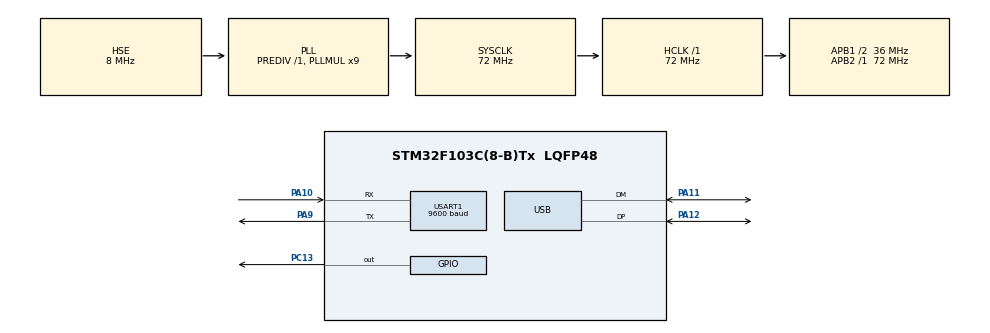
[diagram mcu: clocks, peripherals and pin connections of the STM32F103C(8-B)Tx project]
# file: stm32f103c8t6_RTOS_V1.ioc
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FREERTOS.BinarySemaphores01=BinSem,Dynamic,NULL
FREERTOS.Tasks01=defaultTask,0,128,StartDefaultTask,Default,NULL,Dynamic,NULL,NULL;UartTask01,-1,128,StartTask02,Default,NULL,Dynamic,NULL,NULL;UartTask02,0,128,StartTask03,Default,NULL,Dynamic,NULL,NULL;UartTask03,1,128,StartTask04,Default,NULL,Dynamic,NULL,NULL
Mcu.Family=STM32F1
Mcu.Name=STM32F103C(8-B)Tx
Mcu.Package=LQFP48
NVIC.PriorityGroup=NVIC_PRIORITYGROUP_4
NVIC.TIM4_IRQn=true\:15\:0\:false\:false\:true\:false\:false\:true
NVIC.TimeBase=TIM4_IRQn
NVIC.TimeBaseIP=TIM4
PA10.Mode=Asynchronous
PA10.Signal=USART1_RX
PA11.Mode=Device
PA11.Signal=USB_DM
PA12.Mode=Device
PA12.Signal=USB_DP
PA13.Mode=Serial_Wire
PA13.Signal=SYS_JTMS-SWDIO
PA14.Mode=Serial_Wire
PA14.Signal=SYS_JTCK-SWCLK
PA9.Mode=Asynchronous
PA9.Signal=USART1_TX
PC13-TAMPER-RTC.Signal=GPIO_Output
PD0-OSC_IN.Mode=HSE-External-Oscillator
PD0-OSC_IN.Signal=RCC_OSC_IN
PD1-OSC_OUT.Mode=HSE-External-Oscillator
PD1-OSC_OUT.Signal=RCC_OSC_OUT
ProjectManager.HeapSize=0x200
ProjectManager.StackSize=0x400
ProjectManager.TargetToolchain=Makefile
RCC.AHBFreq_Value=72000000
RCC.APB1CLKDivider=RCC_HCLK_DIV2
RCC.APB1Freq_Value=36000000
RCC.APB1TimFreq_Value=72000000
RCC.APB2Freq_Value=72000000
RCC.APB2TimFreq_Value=72000000
RCC.HCLKFreq_Value=72000000
RCC.PLLMUL=RCC_PLL_MUL9
RCC.PLLSourceVirtual=RCC_PLLSOURCE_HSE
RCC.SYSCLKFreq_VALUE=72000000
RCC.SYSCLKSource=RCC_SYSCLKSOURCE_PLLCLK
RCC.USBFreq_Value=48000000
RCC.USBPrescaler=RCC_USBCLKSOURCE_PLL_DIV1_5
USART1.BaudRate=9600
USART1.VirtualMode=VM_ASYNC
VP_FREERTOS_VS_CMSIS_V1.Mode=CMSIS_V1
VP_SYS_VS_tim4.Mode=TIM4
board=custom

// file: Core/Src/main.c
/* USER CODE BEGIN Header */
/**
  ******************************************************************************
  * @file           : main.c
  * @brief          : Main program body
  ******************************************************************************
  * @attention
  *
  * <h2><center>&copy; Copyright (c) 2023 STMicroelectronics.
  * All rights reserved.</center></h2>
  *
  * This software component is licensed by ST under BSD 3-Clause license,
  * the "License"; You may not use this file except in compliance with the
  * License. You may obtain a copy of the License at:
  *                        opensource.org/licenses/BSD-3-Clause
  *
  ******************************************************************************
  */
/* USER CODE END Header */
#include "main.h"
#include "cmsis_os.h"

/* USER CODE BEGIN Includes */
#include <stdio.h>
/* USER CODE END Includes */

/* USER CODE BEGIN PTD */
int _write(int file, char *data, int len);
uint8_t Tx_Start[] = "UART1 Ready\n";
/* USER CODE END PTD */

UART_HandleTypeDef huart1;

PCD_HandleTypeDef hpcd_USB_FS;

osThreadId defaultTaskHandle;
osThreadId UartTask01Handle;
osThreadId UartTask02Handle;
osThreadId UartTask03Handle;
osSemaphoreId BinSemHandle;

void SystemClock_Config(void);
static void MX_GPIO_Init(void);
static void MX_USART1_UART_Init(void);
static void MX_USB_PCD_Init(void);
void StartDefaultTask(void const * argument);
void StartTask02(void const * argument);
void StartTask03(void const * argument);
void StartTask04(void const * argument);

/* USER CODE BEGIN PFP */
void Blink_Led_PC13(void);

/* USER CODE END PFP */

int main(void)
{

  /* MCU Configuration--------------------------------------------------------*/

  /* Reset of all peripherals, Initializes the Flash interface and the Systick. */
  HAL_Init();

  /* Configure the system clock */
  SystemClock_Config();

  /* Initialize all configured peripherals */
  MX_GPIO_Init();
  MX_USART1_UART_Init();
  MX_USB_PCD_Init();
  /* USER CODE BEGIN 2 */
  HAL_Delay(2000);
  // HAL_UART_Transmit(&huart1, &Tx_Start, sizeof(Tx_Start), 100);
  printf("RTOS Ready\n");
  /* USER CODE END 2 */

  /* Create the semaphores(s) */
  /* definition and creation of BinSem */
  osSemaphoreDef(BinSem);
  BinSemHandle = osSemaphoreCreate(osSemaphore(BinSem), 1);

  /* Create the thread(s) */
  /* definition and creation of defaultTask */
  osThreadDef(defaultTask, StartDefaultTask, osPriorityNormal, 0, 128);
  defaultTaskHandle = osThreadCreate(osThread(defaultTask), NULL);

  /* definition and creation of UartTask01 */
  osThreadDef(UartTask01, StartTask02, osPriorityBelowNormal, 0, 128);
  UartTask01Handle = osThreadCreate(osThread(UartTask01), NULL);

  /* definition and creation of UartTask02 */
  // osThreadDef(UartTask02, StartTask03, osPriorityNormal, 0, 128);
  // UartTask02Handle = osThreadCreate(osThread(UartTask02), NULL);

  // /* definition and creation of UartTask03 */
  // osThreadDef(UartTask03, StartTask04, osPriorityAboveNormal, 0, 128);
  // UartTask03Handle = osThreadCreate(osThread(UartTask03), NULL);

  /* Start scheduler */
  osKernelStart();

  /* We should never get here as control is now taken by the scheduler */
  /* Infinite loop */
  /* USER CODE BEGIN WHILE */
  while (1)
  {
    Blink_Led_PC13();

    /* USER CODE END WHILE */

  }
}

void SystemClock_Config(void)
{
  RCC_OscInitTypeDef RCC_OscInitStruct = {0};
  RCC_ClkInitTypeDef RCC_ClkInitStruct = {0};
  RCC_PeriphCLKInitTypeDef PeriphClkInit = {0};

  /** Initializes the RCC Oscillators according to the specified parameters
  * in the RCC_OscInitTypeDef structure.
  */
  RCC_OscInitStruct.OscillatorType = RCC_OSCILLATORTYPE_HSE;
  RCC_OscInitStruct.HSEState = RCC_HSE_ON;
  RCC_OscInitStruct.HSEPredivValue = RCC_HSE_PREDIV_DIV1;
  RCC_OscInitStruct.HSIState = RCC_HSI_ON;
  RCC_OscInitStruct.PLL.PLLState = RCC_PLL_ON;
  RCC_OscInitStruct.PLL.PLLSource = RCC_PLLSOURCE_HSE;
  RCC_OscInitStruct.PLL.PLLMUL = RCC_PLL_MUL9;
  if (HAL_RCC_OscConfig(&RCC_OscInitStruct) != HAL_OK)
  {
    Error_Handler();
  }
  /** Initializes the CPU, AHB and APB buses clocks
  */
  RCC_ClkInitStruct.ClockType = RCC_CLOCKTYPE_HCLK|RCC_CLOCKTYPE_SYSCLK
                              |RCC_CLOCKTYPE_PCLK1|RCC_CLOCKTYPE_PCLK2;
  RCC_ClkInitStruct.SYSCLKSource = RCC_SYSCLKSOURCE_PLLCLK;
  RCC_ClkInitStruct.AHBCLKDivider = RCC_SYSCLK_DIV1;
  RCC_ClkInitStruct.APB1CLKDivider = RCC_HCLK_DIV2;
  RCC_ClkInitStruct.APB2CLKDivider = RCC_HCLK_DIV1;

  if (HAL_RCC_ClockConfig(&RCC_ClkInitStruct, FLASH_LATENCY_2) != HAL_OK)
  {
    Error_Handler();
  }
  PeriphClkInit.PeriphClockSelection = RCC_PERIPHCLK_USB;
  PeriphClkInit.UsbClockSelection = RCC_USBCLKSOURCE_PLL_DIV1_5;
  if (HAL_RCCEx_PeriphCLKConfig(&PeriphClkInit) != HAL_OK)
  {
    Error_Handler();
  }
}

static void MX_USART1_UART_Init(void)
{

  huart1.Instance = USART1;
  huart1.Init.BaudRate = 9600;
  huart1.Init.WordLength = UART_WORDLENGTH_8B;
  huart1.Init.StopBits = UART_STOPBITS_1;
  huart1.Init.Parity = UART_PARITY_NONE;
  huart1.Init.Mode = UART_MODE_TX_RX;
  huart1.Init.HwFlowCtl = UART_HWCONTROL_NONE;
  huart1.Init.OverSampling = UART_OVERSAMPLING_16;
  if (HAL_UART_Init(&huart1) != HAL_OK)
  {
    Error_Handler();
  }

}

static void MX_USB_PCD_Init(void)
{

  hpcd_USB_FS.Instance = USB;
  hpcd_USB_FS.Init.dev_endpoints = 8;
  hpcd_USB_FS.Init.speed = PCD_SPEED_FULL;
  hpcd_USB_FS.Init.low_power_enable = DISABLE;
  hpcd_USB_FS.Init.lpm_enable = DISABLE;
  hpcd_USB_FS.Init.battery_charging_enable = DISABLE;
  if (HAL_PCD_Init(&hpcd_USB_FS) != HAL_OK)
  {
    Error_Handler();
  }

}

static void MX_GPIO_Init(void)
{
  GPIO_InitTypeDef GPIO_InitStruct = {0};

  /* GPIO Ports Clock Enable */
  __HAL_RCC_GPIOC_CLK_ENABLE();
  __HAL_RCC_GPIOD_CLK_ENABLE();
  __HAL_RCC_GPIOA_CLK_ENABLE();

  /*Configure GPIO pin Output Level */
  HAL_GPIO_WritePin(GPIOC, GPIO_PIN_13, GPIO_PIN_RESET);

  /*Configure GPIO pin : PC13 */
  GPIO_InitStruct.Pin = GPIO_PIN_13;
  GPIO_InitStruct.Mode = GPIO_MODE_OUTPUT_PP;
  GPIO_InitStruct.Pull = GPIO_NOPULL;
  GPIO_InitStruct.Speed = GPIO_SPEED_FREQ_LOW;
  HAL_GPIO_Init(GPIOC, &GPIO_InitStruct);

}

/* USER CODE BEGIN 4 */

void Blink_Led_PC13(void)
{
  uint32_t tick_blink;
  if(HAL_GetTick() - tick_blink > 1000)
  {
    HAL_GPIO_TogglePin(GPIOC, GPIO_PIN_13);
    tick_blink = HAL_GetTick();
  }

}

/* transmit data to usb */
int _write(int file, char *data, int len)
{
  if ((file != STDOUT_FILENO) && (file != STDERR_FILENO))
  {
    errno = EBADF;
    return -1;
  }
  // uint8_t status = CDC_Transmit_FS((uint8_t *)data, len);
  uint8_t status = HAL_UART_Transmit(&huart1, (uint8_t*)data, len, 100);
  return status;
}

/* USER CODE END 4 */

void StartDefaultTask(void const * argument)
{
  /* USER CODE BEGIN 5 */
  /* Infinite loop */
  for(;;)
  {
    printf("Task 1\n");
    Blink_Led_PC13();
    osDelay(1000);
  }
  /* USER CODE END 5 */
}

void StartTask02(void const * argument)
{
  /* USER CODE BEGIN StartTask02 */
  /* Infinite loop */
  for(;;)
  {
    printf("Enter task 02\n");

    osSemaphoreWait(BinSemHandle, osWaitForever);

    printf("Leaving task 02\n");
    osSemaphoreRelease(BinSemHandle);
    osDelay(500);
  }
  /* USER CODE END StartTask02 */
}

void StartTask03(void const * argument)
{
  /* USER CODE BEGIN StartTask03 */
  /* Infinite loop */
  for(;;)
  {
    printf("Text from task 03\n");
    osDelay(500);
  }
  /* USER CODE END StartTask03 */
}

void StartTask04(void const * argument)
{
  /* USER CODE BEGIN StartTask04 */
  /* Infinite loop */
  for(;;)
  {
    printf("Text from task 04\n");
    osDelay(500);
  }
  /* USER CODE END StartTask04 */
}

void HAL_TIM_PeriodElapsedCallback(TIM_HandleTypeDef *htim)
{
  if (htim->Instance == TIM4) {
    HAL_IncTick();
  }
}

void Error_Handler(void)
{
  __disable_irq();
  while (1)
  {
  }
}

/************************ (C) COPYRIGHT STMicroelectronics *****END OF FILE****/
